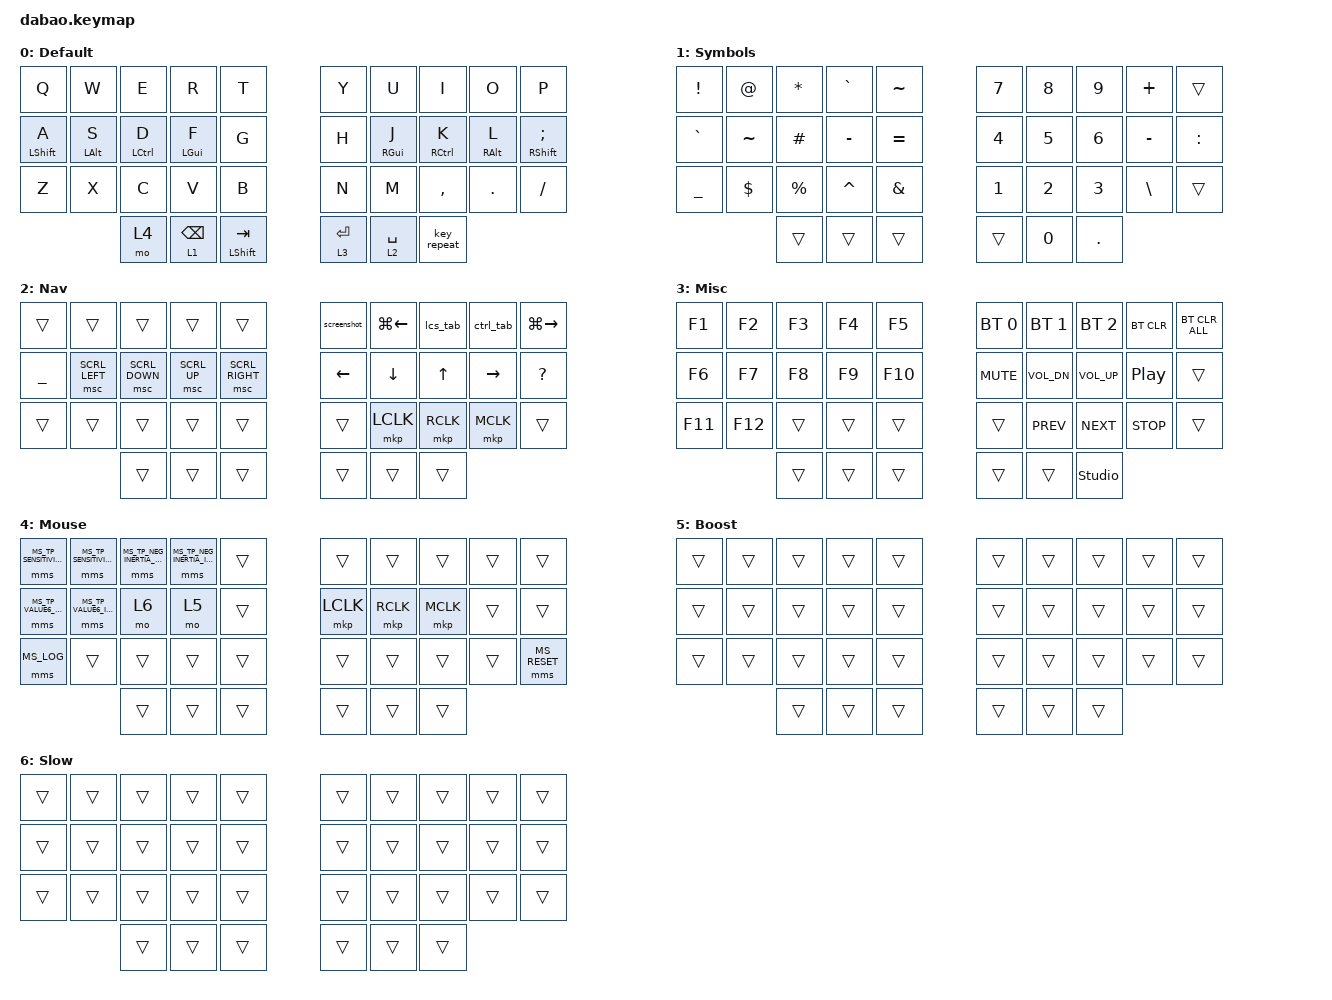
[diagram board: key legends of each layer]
#include <behaviors.dtsi>
#include <behaviors/mouse_setting.dtsi>
#include <dt-bindings/zmk/keys.h>
#include <dt-bindings/zmk/bt.h>
#include <dt-bindings/zmk/mouse_settings.h>

&mt {
    flavor = "hold-preferred";
    tapping-term-ms = <200>;
    quick-tap-ms = <180>;
};

/ {
    behaviors {
        hml: home_row_mod_left {
            compatible = "zmk,behavior-hold-tap";
            #binding-cells = <2>;
            flavor = "balanced";
            require-prior-idle-ms = <150>;
            tapping-term-ms = <280>;
            quick-tap-ms = <175>;
            bindings = <&kp>, <&kp>;
            hold-trigger-key-positions = <5 6 7 8 9 15 16 17 18 19 25 26 27 28 29>; // Right side keys + right thumb
            hold-trigger-on-release;
        };
        hmr: home_row_mod_right {
            compatible = "zmk,behavior-hold-tap";
            #binding-cells = <2>;
            flavor = "balanced";
            require-prior-idle-ms = <150>;
            tapping-term-ms = <280>;
            quick-tap-ms = <175>;
            bindings = <&kp>, <&kp>;
            hold-trigger-key-positions = <0 1 2 3 4 10 11 12 13 14 20 21 22 23 24>; // Left side keys + left thumb
            hold-trigger-on-release;
        };

        // Left thumb. Hold from idle = nav layer, tap = one backspace.
        // quick-tap-ms is measured from the first press to the second press: a
        // quick tap followed by another press inside that window forces the tap
        // side, and ZMK keeps that tap held until the key is released, so the
        // host's own key repeat takes over and double-tap-and-hold deletes.
        // The tap side must stay a plain &kp. Routing it through a macro breaks
        // quick-tap detection, because macros run via the behavior queue, which
        // stamps the inner keycode with the current time instead of the
        // hold-tap's press time, and that makes the hold-tap forget this
        // position was just tapped. Raise quick-tap-ms if the window is tight.
        bspc_nav: bspc_nav {
            compatible = "zmk,behavior-hold-tap";
            #binding-cells = <2>;
            flavor = "tap-preferred";
            tapping-term-ms = <200>;
            quick-tap-ms = <200>;
            bindings = <&mo>, <&kp>;
        };
    };

    /*                KEY POSITIONS
     ╭────────────────────╮ ╭────────────────────╮
     │  0   1   2   3   4 │ │  5   6   7   8   9 │
     │ 10  11  12  13  14 │ │ 15  16  17  18  19 │
     │ 20  21  22  23  24 │ │ 25  26  27  28  29 │
     ╰───────╮ 30  31  32 │ │ 33  34  35╭────────╯
             ╰────────────╯ ╰───────────╯            */

    combos {
        compatible = "zmk,combos";

        // J + K = ESC
        jk_esc {
            timeout-ms = <50>;
            key-positions = <16 17>;
            bindings = <&kp ESC>;
        };

        // S + D = One-shot Right Shift
        sd_osm_rshift {
            timeout-ms = <50>;
            key-positions = <11 12>;
            bindings = <&sk RSHFT>;
        };

        // Symbols
        // vertical, left half, row 0
        combo_sym_l00 {
            timeout-ms = <50>;
            key-positions = <0 10>;
            bindings = <&kp TILDE>;
        };

        combo_sym_l01 {
            timeout-ms = <50>;
            key-positions = <1 11>;
            bindings = <&kp GRAVE>;
        };

        combo_sym_l02 {
            timeout-ms = <50>;
            key-positions = <2 12>;
            bindings = <&kp EXCL>;
        };

        combo_sym_l03 {
            timeout-ms = <50>;
            key-positions = <3 13>;
            bindings = <&kp AT>;
        };

        combo_sym_l04 {
            timeout-ms = <50>;
            key-positions = <4 14>;
            bindings = <&kp EQUAL>;
        };
        // vertical, left half, row 1
        combo_sym_l10 {
            timeout-ms = <50>;
            key-positions = <10 20>;
            bindings = <&kp CARET>;
        };

        combo_sym_l11 {
            timeout-ms = <50>;
            key-positions = <11 21>;
            bindings = <&kp PERCENT>;
        };

        combo_sym_l12 {
            timeout-ms = <50>;
            key-positions = <12 22>;
            bindings = <&kp STAR>;
        };

        combo_sym_l13 {
            timeout-ms = <50>;
            key-positions = <13 23>;
            bindings = <&kp HASH>;
        };

        combo_sym_l14 {
            timeout-ms = <50>;
            key-positions = <14 24>;
            bindings = <&kp DOLLAR>;
        };

        // vertical, right half, row 0
        combo_sym_r00 {
            timeout-ms = <50>;
            key-positions = <5 15>;
            bindings = <&kp LPAR>;
        };

        combo_sym_r01 {
            timeout-ms = <50>;
            key-positions = <6 16>;
            bindings = <&kp RPAR>;
        };

        combo_sym_r02 {
            timeout-ms = <50>;
            key-positions = <7 17>;
            bindings = <&kp LBKT>;
        };

        combo_sym_r03 {
            timeout-ms = <50>;
            key-positions = <8 18>;
            bindings = <&kp RBKT>;
        };

        combo_sym_r04 {
            timeout-ms = <50>;
            key-positions = <9 19>;
            bindings = <&kp BSLH>;
        };
        // vertical, right half, row 1
        combo_sym_r10 {
            timeout-ms = <50>;
            key-positions = <15 25>;
            bindings = <&kp AMPS>;
        };

        combo_sym_r11 {
            timeout-ms = <50>;
            key-positions = <16 26>;
            bindings = <&kp LG(C)>;
        };

        combo_sym_r12 {
            timeout-ms = <50>;
            key-positions = <17 27>;
            bindings = <&kp LG(X)>;
        };

        combo_sym_r13 {
            timeout-ms = <50>;
            key-positions = <18 28>;
            bindings = <&kp LG(V)>;
        };

        //combo_sym_r14 {
        //    timeout-ms = <50>;
        //    key-positions = <19 29>;
        //    bindings = <&kp BLSH>;
        //};

        // Bracket combos - opening
        //combo_lparen {
        //    timeout-ms = <50>;
        //    key-positions = <13 14>;
        //    bindings = <&kp LPAR>;
        //};
        //combo_lbkt {
        //    timeout-ms = <50>;
        //    key-positions = <3 4>;
        //    bindings = <&kp LBKT>;
        //};
        //combo_lbrc {
        //    timeout-ms = <50>;
        //    key-positions = <23 24>;
        //    bindings = <&kp LBRC>;
        //};

        // Bracket combos - closing
        //combo_rparen {
        //    timeout-ms = <50>;
        //    key-positions = <15 16>;
        //    bindings = <&kp RPAR>;
        //};
        //combo_rbkt {
        //    timeout-ms = <50>;
        //    key-positions = <5 6>;
        //    bindings = <&kp RBKT>;
        //};
        //combo_rbrc {
        //    timeout-ms = <50>;
        //    key-positions = <25 26>;
        //    bindings = <&kp RBRC>;
        //};

        // d + f
        combo_hyphen {
            timeout-ms = <50>;
            key-positions = <12 13>;
            bindings = <&kp MINUS>;
        };
        // f + g
        combo_under {
            timeout-ms = <50>;
            key-positions = <13 14>;
            bindings = <&kp UNDER>;
        };
        // l + ; = '
        combo_sqt {
            timeout-ms = <50>;
            key-positions = <18 19>;
            bindings = <&kp SQT>;
        };
    };

    macros {
        // Ctrl+Shift+Tab (browser tab back)
        lcs_tab: lcs_tab {
            compatible = "zmk,behavior-macro";
            #binding-cells = <0>;
            bindings = <&macro_press &kp LCTRL &kp LSHFT>,
                       <&macro_tap &kp TAB>,
                       <&macro_release &kp LSHFT &kp LCTRL>;
        };

        // Screenshot (Shift+Gui+4)
        screenshot: screenshot {
            compatible = "zmk,behavior-macro";
            #binding-cells = <0>;
            bindings = <&kp LG(LS(N4))>;
        };

        // Explicit-modifier wrappers for Ctrl combos. An implicit modifier
        // (&kp LC(x)) is sent as a single HID report together with the key and
        // gets dropped by GNOME/Wayland, so Ctrl arrives too late and the key
        // fires unmodified. A macro emits the Ctrl press as its own report
        // first, which avoids that (zmk#759, gnome-shell#5890).
        ctrl_tab: ctrl_tab {
            compatible = "zmk,behavior-macro";
            #binding-cells = <0>;
            bindings = <&macro_press &kp LCTRL>,
                       <&macro_tap &kp TAB>,
                       <&macro_release &kp LCTRL>;
        };
    };

    keymap {
        compatible = "zmk,keymap";

        default_layer {
            display-name = "Default";
            bindings = <
            // ╭───────────────┬───────────────┬───────────────┬───────────────┬───────────────╮  ╭───────────────┬───────────────┬───────────────┬───────────────┬───────────────╮
                          &kp Q           &kp W           &kp E           &kp R           &kp T             &kp Y           &kp U           &kp I           &kp O           &kp P
            // ├───────────────┼───────────────┼───────────────┼───────────────┼───────────────┤  ├───────────────┼───────────────┼───────────────┼───────────────┼───────────────┤
                   &hml LSHFT A     &hml LALT S    &hml LCTRL D     &hml LGUI F           &kp G             &kp H     &hmr RGUI J    &hmr RCTRL K     &hmr RALT L &hmr RSHFT SEMI
            // ├───────────────┼───────────────┼───────────────┼───────────────┼───────────────┤  ├───────────────┼───────────────┼───────────────┼───────────────┼───────────────┤
                          &kp Z           &kp X           &kp C           &kp V           &kp B             &kp N           &kp M       &kp COMMA         &kp DOT       &kp SLASH
            // ╰───────────────┴───────────────┴───────────────┴───────────────┴───────────────╯  ╰───────────────┴───────────────┴───────────────┴───────────────┴───────────────╯
            //                                 ╭───────────────┬───────────────┬───────────────╮  ╭───────────────┬───────────────┬───────────────╮
                                                        &mo 4   &bspc_nav 1 BSPC    &mt LSHFT TAB    &lt 3 ENTER     &lt 2 SPACE        &key_repeat
            //                                 ╰───────────────┴───────────────┴───────────────╯  ╰───────────────┴───────────────┴───────────────╯
            >;
        };

        // Symbols. Held from the inner left thumb (&bspc_nav), and also turns
        // the trackpoint into a scroll wheel while held: dabao.overlay's
        // scroller override is keyed to this layer's number (1).
        symbols_layer {
            display-name = "Symbols";
            bindings = <
            // ╭───────────────┬───────────────┬───────────────┬───────────────┬───────────────╮  ╭───────────────┬───────────────┬───────────────┬───────────────┬───────────────╮
                       &kp EXCL          &kp AT        &kp STAR       &kp GRAVE       &kp TILDE            &kp N7          &kp N8          &kp N9        &kp PLUS          &trans
            // ├───────────────┼───────────────┼───────────────┼───────────────┼───────────────┤  ├───────────────┼───────────────┼───────────────┼───────────────┼───────────────┤
                       &kp GRAVE       &kp TILDE       &kp HASH       &kp MINUS       &kp EQUAL            &kp N4          &kp N5          &kp N6       &kp MINUS       &kp COLON
            // ├───────────────┼───────────────┼───────────────┼───────────────┼───────────────┤  ├───────────────┼───────────────┼───────────────┼───────────────┼───────────────┤
                      &kp UNDER        &kp DLLR       &kp PRCNT       &kp CARET        &kp AMPS            &kp N1          &kp N2          &kp N3        &kp BSLH          &trans
            // ╰───────────────┴───────────────┴───────────────┴───────────────┴───────────────╯  ╰───────────────┴───────────────┴───────────────┴───────────────┴───────────────╯
            //                                 ╭───────────────┬───────────────┬───────────────╮  ╭───────────────┬───────────────┬───────────────╮
                                                         &trans          &trans          &trans            &trans          &kp N0         &kp DOT
            //                                 ╰───────────────┴───────────────┴───────────────╯  ╰───────────────┴───────────────┴───────────────╯
            >;
        };

        nav_layer {
            display-name = "Nav";
            bindings = <
            // ╭───────────────┬───────────────┬───────────────┬───────────────┬───────────────╮  ╭───────────────┬───────────────┬───────────────┬───────────────┬───────────────╮
                         &trans          &trans          &trans          &trans          &trans      &screenshot     &kp LG(LEFT)      &lcs_tab       &ctrl_tab      &kp LG(RIGHT)
            // ├───────────────┼───────────────┼───────────────┼───────────────┼───────────────┤  ├───────────────┼───────────────┼───────────────┼───────────────┼───────────────┤
                      &kp UNDER      &msc SCRL_LEFT &msc SCRL_DOWN &msc SCRL_UP &msc SCRL_RIGHT         &kp LEFT         &kp DOWN          &kp UP        &kp RIGHT       &kp QMARK
            // ├───────────────┼───────────────┼───────────────┼───────────────┼───────────────┤  ├───────────────┼───────────────┼───────────────┼───────────────┼───────────────┤
                         &trans          &trans          &trans          &trans          &trans            &trans       &mkp LCLK       &mkp RCLK       &mkp MCLK          &trans
            // ╰───────────────┴───────────────┴───────────────┴───────────────┴───────────────╯  ╰───────────────┴───────────────┴───────────────┴───────────────┴───────────────╯
            //                                 ╭───────────────┬───────────────┬───────────────╮  ╭───────────────┬───────────────┬───────────────╮
                                                         &trans          &trans          &trans            &trans          &trans          &trans
            //                                 ╰───────────────┴───────────────┴───────────────╯  ╰───────────────┴───────────────┴───────────────╯
            >;
        };

        // Misc layer. Position 35 (the rightmost right-thumb key, which is
        // &key_repeat on the default layer) is repurposed as &studio_unlock:
        // hold the right thumb ENTER (position 33 = &lt 3) and tap it to unlock
        // ZMK Studio for runtime keymap edits.
        misc_layer {
            display-name = "Misc";
            bindings = <
            // ╭───────────────┬───────────────┬───────────────┬───────────────┬───────────────╮  ╭───────────────┬───────────────┬───────────────┬───────────────┬───────────────╮
                         &kp F1          &kp F2          &kp F3          &kp F4          &kp F5      &bt BT_SEL 0    &bt BT_SEL 1    &bt BT_SEL 2      &bt BT_CLR  &bt BT_CLR_ALL
            // ├───────────────┼───────────────┼───────────────┼───────────────┼───────────────┤  ├───────────────┼───────────────┼───────────────┼───────────────┼───────────────┤
                         &kp F6          &kp F7          &kp F8          &kp F9         &kp F10         &kp C_MUTE   &kp C_VOL_DN    &kp C_VOL_UP        &kp C_PP           &trans
            // ├───────────────┼───────────────┼───────────────┼───────────────┼───────────────┤  ├───────────────┼───────────────┼───────────────┼───────────────┼───────────────┤
                        &kp F11         &kp F12          &trans          &trans          &trans            &trans       &kp C_PREV    &kp C_NEXT        &kp C_STOP          &trans
            // ╰───────────────┴───────────────┴───────────────┴───────────────┴───────────────╯  ╰───────────────┴───────────────┴───────────────┴───────────────┴───────────────╯
            //                                 ╭───────────────┬───────────────┬───────────────╮  ╭───────────────┬───────────────┬───────────────╮
                                                         &trans          &trans          &trans            &trans          &trans  &studio_unlock
            //                                 ╰───────────────┴───────────────┴───────────────╯  ╰───────────────┴───────────────┴───────────────╯
            >;
        };

        // Mouse layer. Held with the outer left thumb (&mo 4 at position 30 on
        // the default layer), so a click is that thumb plus J/K/L. F (13) holds
        // the boost layer and position 12 holds slow; both change what the
        // trackpoint reports rather than what a key does (see boost, slow and
        // scroller in dabao.overlay).
        //
        // The left half carries the &mms (mouse setting) keys. A press applies
        // one step and the driver writes all four values to flash once
        // CONFIG_ZMK_SETTINGS_SAVE_DEBOUNCE (5s, set in dabao.conf) has passed
        // without another change, restoring them on the next boot. This is the
        // complete set of codes &mms accepts (dt-bindings/zmk/mouse_settings.h);
        // `value` is the number the code stands for and `key` is where this
        // layer binds it (`-` = unbound here):
        //
        //   code                       value  key  step  range  default
        //   MS_LOG                         0   20     -      -        -
        //   MS_RESET                       1    4     -      -        -
        //   MS_TP_SENSITIVITY_INCR        10    1   +10  0-255      128
        //   MS_TP_SENSITIVITY_DECR        11    0   -10  0-255      128
        //   MS_TP_NEG_INERTIA_INCR        12    3    +1  0-255        6
        //   MS_TP_NEG_INERTIA_DECR        13    2    -1  0-255        6
        //   MS_TP_VALUE6_INCR             14   11    +5  0-255       97
        //   MS_TP_VALUE6_DECR             15   10    -5  0-255       97
        //   MS_TP_PTS_THRESHOLD_INCR      16    -    +1  0-255        8
        //   MS_TP_PTS_THRESHOLD_DECR      17    -    -1  0-255        8
        //
        // `step` is what one press adds or subtracts, and `default` is what the
        // trackpoint reports before anything is stored. A step that would leave
        // 0-255 is rejected rather than clamped, so the value just stops moving
        // at the ends; holding a key does not repeat, so each press is one step.
        //
        // The four tuned settings, named as the devicetree properties on
        // &tpoint0 (MS_LOG prints the same names, except that the
        // press-to-select one comes out as `tp-tp-press-to-select-threshold`,
        // a typo in the driver's log message). The details below are from the
        // TrackPoint System Version 4.0 Engineering Specification, section
        // 2.4.19.3:
        //
        //   tp-sensitivity
        //       Scales the stick force before the transfer function is applied
        //       (force / 128), so it sets how much force a given pointer speed
        //       costs. 128 is 1.00x and the power-on default; higher is faster,
        //       and 255 is 1.99x.
        //   tp-neg-inertia
        //       Negative inertia factor. During transient force applications
        //       the trackpoint adds a term proportional to the change in force
        //       since the previous sample, then scales the result down by
        //       1 / (1 + I * (1 - Z0 / Z1)). 0 disables the algorithm, 6 is the
        //       default. Higher values make the pointer react faster to a
        //       change in pressure while damping motion at low speed, which is
        //       IBM's fix for a sluggish start to a flick.
        //   tp-val6-upper-speed
        //       Speed ceiling of the transfer function curve: the pointer tops
        //       out at 22 + 4.3 * value6 mickeys per second, so the default 97
        //       (x"61") is about 439, and each +5 step adds about 21.5. IBM
        //       sizes it for the display, so lower it on a small screen and
        //       raise it for a large one.
        //   tp-press-to-select-threshold
        //       How hard a press on the stick counts as a click. Default 8.
        //       Inert here: the trackpoint runs with disable-clicking in
        //       dabao_trackpoint.dtsi, so neither MS_TP_PTS_THRESHOLD code is
        //       bound on this layer.
        //
        // MS_LOG logs all four values as a ready-to-paste
        // `&mouse_ps2_conf = { ... }` block, but only when logging is enabled;
        // the debug block at the bottom of dabao.conf is commented out, so it
        // prints nothing as shipped. This repo has no `mouse_ps2_conf` node, so
        // merge those properties into &tpoint0 in dabao_trackpoint.dtsi to fix
        // them in firmware -- doing so makes the driver ignore the stored value
        // on boot and re-apply the devicetree one instead (it logs "because
        // deviceconfig defines the setting"), which is why all four are left
        // unset there. MS_RESET deletes the stored values and pushes those
        // defaults back into the trackpoint.
        //
        // Positions 12 and 13 (not the code values of 12 and 13 above) hold the
        // slow and boost layers. Held, they scale trackpoint motion by 1/2 and
        // 3/1, so a flick crosses a large display without giving up fine control
        // the rest of the time.
        mouse_layer {
            display-name = "Mouse";
            bindings = <
            // ╭───────────────┬───────────────┬───────────────┬───────────────┬───────────────╮  ╭───────────────┬───────────────┬───────────────┬───────────────┬───────────────╮
  &mms MS_TP_SENSITIVITY_DECR  &mms MS_TP_SENSITIVITY_INCR  &mms MS_TP_NEG_INERTIA_DECR  &mms MS_TP_NEG_INERTIA_INCR  &trans    &trans          &trans          &trans          &trans          &trans
            // ├───────────────┼───────────────┼───────────────┼───────────────┼───────────────┤  ├───────────────┼───────────────┼───────────────┼───────────────┼───────────────┤
         &mms MS_TP_VALUE6_DECR  &mms MS_TP_VALUE6_INCR   &mo 6          &mo 5           &trans         &mkp LCLK      &mkp RCLK        &mkp MCLK         &trans          &trans
            // ├───────────────┼───────────────┼───────────────┼───────────────┼───────────────┤  ├───────────────┼───────────────┼───────────────┼───────────────┼───────────────┤
                    &mms MS_LOG          &trans          &trans          &trans          &trans            &trans          &trans          &trans          &trans          &mms MS_RESET
            // ╰───────────────┴───────────────┴───────────────┴───────────────┴───────────────╯  ╰───────────────┴───────────────┴───────────────┴───────────────┴───────────────╯
            //                                 ╭───────────────┬───────────────┬───────────────╮  ╭───────────────┬───────────────┬───────────────╮
                                                         &trans          &trans          &trans             &trans          &trans          &trans
            //                                 ╰───────────────┴───────────────┴───────────────╯  ╰───────────────┴───────────────┴───────────────╯
            >;
        };

        // Boost and precision. Held from the mouse layer, these change no key
        // binding at all: dabao.overlay's input_listener carries a layer
        // override for each, scaling trackpoint motion by 3/1 and 1/2. Every
        // key is &trans, so clicks on 16/17/18 keep working while boosting and
        // scrolling still wins if symbols is held at the same time.
        //
        // Position in this file fixes the layer numbers: default 0, symbols 1,
        // nav 2, misc 3, mouse 4, boost 5, slow 6, then the two reserved
        // layers. Boost and slow must stay at 5 and 6, because the mouse
        // layer's &mo bindings point at them and dabao.overlay keys the boost
        // and slow overrides to <5> and <6>; inserting or deleting a layer
        // above them shifts those numbers and silently changes what a held
        // modifier does. Sitting before the reserved pair keeps boost and slow
        // at 5 and 6 in both the Studio and non-Studio layer enumerations.
        // Nothing here is verified by the compiler: a wrong number builds clean
        // and misbehaves at runtime, so check the generated layer order after
        // any edit to this file.
        boost_layer {
            display-name = "Boost";
            bindings = <
            // ╭───────────────┬───────────────┬───────────────┬───────────────┬───────────────╮  ╭───────────────┬───────────────┬───────────────┬───────────────┬───────────────╮
                         &trans          &trans          &trans          &trans          &trans            &trans          &trans          &trans          &trans          &trans
            // ├───────────────┼───────────────┼───────────────┼───────────────┼───────────────┤  ├───────────────┼───────────────┼───────────────┼───────────────┼───────────────┤
                         &trans          &trans          &trans          &trans          &trans            &trans          &trans          &trans          &trans          &trans
            // ├───────────────┼───────────────┼───────────────┼───────────────┼───────────────┤  ├───────────────┼───────────────┼───────────────┼───────────────┼───────────────┤
                         &trans          &trans          &trans          &trans          &trans            &trans          &trans          &trans          &trans          &trans
            // ╰───────────────┴───────────────┴───────────────┴───────────────┴───────────────╯  ╰───────────────┴───────────────┴───────────────┴───────────────┴───────────────╯
            //                                 ╭───────────────┬───────────────┬───────────────╮  ╭───────────────┬───────────────┬───────────────╮
                                                &trans          &trans          &trans            &trans          &trans          &trans
            //                                 ╰───────────────┴───────────────┴───────────────╯  ╰───────────────┴───────────────┴───────────────╯
            >;
        };

        slow_layer {
            display-name = "Slow";
            bindings = <
            // ╭───────────────┬───────────────┬───────────────┬───────────────┬───────────────╮  ╭───────────────┬───────────────┬───────────────┬───────────────┬───────────────╮
                         &trans          &trans          &trans          &trans          &trans            &trans          &trans          &trans          &trans          &trans
            // ├───────────────┼───────────────┼───────────────┼───────────────┼───────────────┤  ├───────────────┼───────────────┼───────────────┼───────────────┼───────────────┤
                         &trans          &trans          &trans          &trans          &trans            &trans          &trans          &trans          &trans          &trans
            // ├───────────────┼───────────────┼───────────────┼───────────────┼───────────────┤  ├───────────────┼───────────────┼───────────────┼───────────────┼───────────────┤
                         &trans          &trans          &trans          &trans          &trans            &trans          &trans          &trans          &trans          &trans
            // ╰───────────────┴───────────────┴───────────────┴───────────────┴───────────────╯  ╰───────────────┴───────────────┴───────────────┴───────────────┴───────────────╯
            //                                 ╭───────────────┬───────────────┬───────────────╮  ╭───────────────┬───────────────┬───────────────╮
                                                &trans          &trans          &trans            &trans          &trans          &trans
            //                                 ╰───────────────┴───────────────┴───────────────╯  ╰───────────────┴───────────────┴───────────────╯
            >;
        };

        // Two spare layers ZMK Studio can rename and fill in without a reflash.
        // Non-Studio builds skip them (DT_FOREACH_CHILD_STATUS_OKAY); Studio
        // selects ZMK_KEYMAP_LAYER_REORDERING, which enumerates them.
        extra1 {
            status = "reserved";
            display-name = "Extra 1";
        };

        extra2 {
            status = "reserved";
            display-name = "Extra 2";
        };
    };
};
